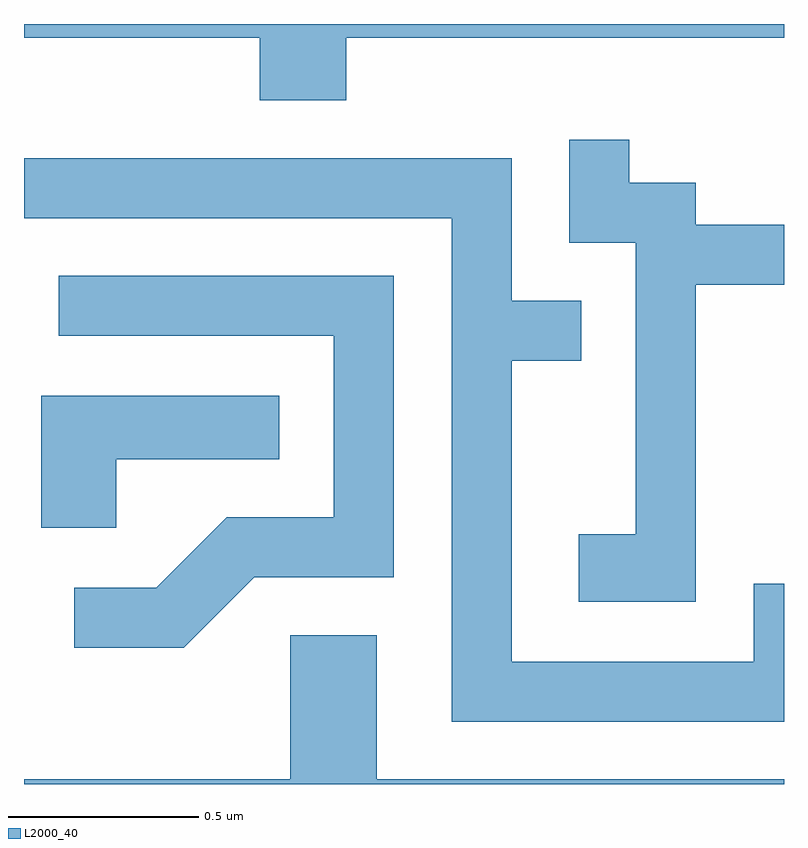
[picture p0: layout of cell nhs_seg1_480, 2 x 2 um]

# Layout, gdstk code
import gdstk
lib = gdstk.Library(unit=1e-6, precision=1e-09)
def P(c, l, *ps):  # polygons
    for p in ps: c.add(gdstk.Polygon(p, *l))
L2000_40 = (2000, 40)

nhs_seg1_480 = lib.new_cell('nhs_seg1_480')
P(nhs_seg1_480, L2000_40, [(189.459,910.676),(190.611,910.676),(190.611,910.712),(188.611,910.712),(188.611,910.676),(189.231,910.676),(189.231,910.511),(189.459,910.511)],
  [(190.379,910.026),(190.611,910.026),(190.611,910.184),(190.379,910.184),(190.379,910.294),(190.204,910.294),(190.204,910.408),(190.046,910.408),(190.046,910.136),(190.221,910.136),(190.221,909.369),(190.071,909.369),(190.071,909.191),(190.379,909.191)],
  [(190.611,909.239),(190.531,909.239),(190.531,909.034),(189.894,909.034),(189.894,909.826),(190.078,909.826),(190.078,909.984),(189.894,909.984),(189.894,910.359),(188.611,910.359),(188.611,910.201),(189.736,910.201),(189.736,908.876),(190.611,908.876)],
  [(189.217,909.256),(189.584,909.256),(189.584,910.049),(188.703,910.049),(188.703,909.891),(189.426,909.891),(189.426,909.414),(189.144,909.414),(188.959,909.229),(188.743,909.229),(188.743,909.071),(189.032,909.071)],
  [(188.854,909.566),(189.283,909.566),(189.283,909.734),(188.656,909.734),(188.656,909.386),(188.854,909.386)],
  [(190.611,908.724),(189.539,908.724),(189.539,909.104),(189.311,909.104),(189.311,908.724),(188.611,908.724),(188.611,908.712),(190.611,908.712)])

lib.write_gds('nhs_seg1_480.gds')
